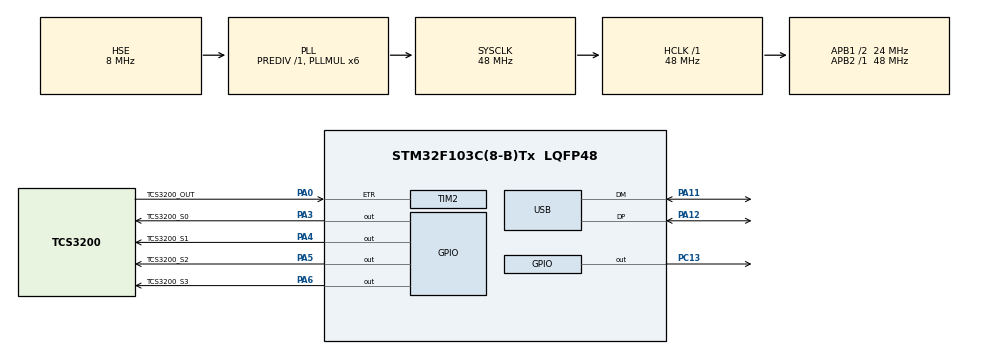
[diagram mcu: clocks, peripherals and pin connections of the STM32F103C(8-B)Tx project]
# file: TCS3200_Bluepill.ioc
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Mcu.Family=STM32F1
Mcu.Name=STM32F103C(8-B)Tx
Mcu.Package=LQFP48
NVIC.PriorityGroup=NVIC_PRIORITYGROUP_4
NVIC.TIM1_BRK_IRQn=true\:0\:0\:false\:false\:true\:true\:true\:true
NVIC.TIM1_CC_IRQn=true\:0\:0\:false\:false\:true\:true\:true\:true
NVIC.TIM1_TRG_COM_IRQn=true\:0\:0\:false\:false\:true\:true\:true\:true
NVIC.TIM1_UP_IRQn=true\:0\:0\:false\:false\:true\:true\:true\:true
NVIC.TIM2_IRQn=true\:0\:0\:false\:false\:true\:true\:true\:true
NVIC.USB_LP_CAN1_RX0_IRQn=true\:0\:0\:false\:false\:true\:false\:true\:true
PA0-WKUP.GPIO_Label=TCS3200_OUT
PA0-WKUP.Signal=S_TIM2_CH1_ETR
PA11.Mode=Device
PA11.Signal=USB_DM
PA12.Mode=Device
PA12.Signal=USB_DP
PA13.Mode=Serial_Wire
PA13.Signal=SYS_JTMS-SWDIO
PA14.Mode=Serial_Wire
PA14.Signal=SYS_JTCK-SWCLK
PA3.GPIO_Label=TCS3200_S0
PA3.Signal=GPIO_Output
PA4.GPIO_Label=TCS3200_S1
PA4.Signal=GPIO_Output
PA5.GPIO_Label=TCS3200_S2
PA5.Signal=GPIO_Output
PA6.GPIO_Label=TCS3200_S3
PA6.Signal=GPIO_Output
PC13-TAMPER-RTC.Signal=GPIO_Output
PD0-OSC_IN.Mode=HSE-External-Oscillator
PD0-OSC_IN.Signal=RCC_OSC_IN
PD1-OSC_OUT.Mode=HSE-External-Oscillator
PD1-OSC_OUT.Signal=RCC_OSC_OUT
ProjectManager.HeapSize=0x200
ProjectManager.StackSize=0x400
ProjectManager.TargetToolchain=Makefile
RCC.AHBFreq_Value=48000000
RCC.APB1CLKDivider=RCC_HCLK_DIV2
RCC.APB1Freq_Value=24000000
RCC.APB1TimFreq_Value=48000000
RCC.APB2Freq_Value=48000000
RCC.APB2TimFreq_Value=48000000
RCC.HCLKFreq_Value=48000000
RCC.PLLMUL=RCC_PLL_MUL6
RCC.PLLSourceVirtual=RCC_PLLSOURCE_HSE
RCC.SYSCLKFreq_VALUE=48000000
RCC.SYSCLKSource=RCC_SYSCLKSOURCE_PLLCLK
RCC.USBFreq_Value=48000000
SH.S_TIM2_CH1_ETR.0=TIM2_ETR,ClockSourceETR_Mode2
TIM1.Prescaler=71
TIM2.Period=100
USB_DEVICE.CLASS_NAME_FS=CDC
USB_DEVICE.VirtualMode=Cdc
USB_DEVICE.VirtualModeFS=Cdc_FS
VP_TIM1_VS_ClockSourceINT.Mode=Internal
VP_USB_DEVICE_VS_USB_DEVICE_CDC_FS.Mode=CDC_FS
board=custom

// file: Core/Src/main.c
/* USER CODE BEGIN Header */
/**
 ******************************************************************************
 * @file           : main.c
 * @brief          : Main program body
 ******************************************************************************
 * @attention
 *
 * Copyright (c) 2024 STMicroelectronics.
 * All rights reserved.
 *
 * This software is licensed under terms that can be found in the LICENSE file
 * in the root directory of this software component.
 * If no LICENSE file comes with this software, it is provided AS-IS.
 *
 ******************************************************************************
 */
/* USER CODE END Header */
#include "main.h"
#include "tim.h"
#include "usb_device.h"
#include "gpio.h"

/* USER CODE BEGIN Includes */
#include <stdio.h>
#include "usbd_cdc_if.h"
#include "TCS3200.h"
#include "crc8.h"
/* USER CODE END Includes */

void SystemClock_Config(void);

/* USER CODE BEGIN 0 */
uint8_t CRC_TABLE[CRC8_TABLE_SIZE];
/* USER CODE END 0 */

int main(void)
{

  /* MCU Configuration--------------------------------------------------------*/

  /* Reset of all peripherals, Initializes the Flash interface and the Systick. */
  HAL_Init();

  /* Configure the system clock */
  SystemClock_Config();

  /* Initialize all configured peripherals */
  MX_GPIO_Init();
  MX_TIM2_Init();
  MX_TIM1_Init();
  MX_USB_DEVICE_Init();
  /* USER CODE BEGIN 2 */
  init_CRC_Table(CRC_TABLE, 7);
  HAL_TIM_Base_Start_IT(&htim1);
  HAL_TIM_Base_Start_IT(&htim2);
  TCS3200_Init();
  HAL_GPIO_WritePin(GPIOC, GPIO_PIN_13, GPIO_PIN_SET);
  uint32_t last_transmit = 0;
  char c;
  uint8_t packet[3] = {0xA5, 0, 0};
  BallColor ballColor;
  int isBallDetected;
  /* USER CODE END 2 */

  /* Infinite loop */
  /* USER CODE BEGIN WHILE */
  while (1)
  {
    isBallDetected = 1;
    ballColor = GetBallColor();

    if (HAL_GetTick() - last_transmit >= 10)
    {
      if (ballColor == BALL_RED)
      {
        c = 'R';
        // printf("RED\n");
      }
      else if (ballColor == BALL_BLUE)
      {
        c = 'B';
        // printf("BLUE\n");
      }
      else if (ballColor == BALL_PURPLE)
      {
        c = 'P';
        // printf("PURPLE\n");
      }
      else
      {
        c = 'N';
        isBallDetected = 0;
      }

      if (isBallDetected)
      {
        HAL_GPIO_WritePin(GPIOC, GPIO_PIN_13, GPIO_PIN_RESET);
      }
      else
      {
        HAL_GPIO_WritePin(GPIOC, GPIO_PIN_13, GPIO_PIN_SET);
      }

      packet[1] = (uint8_t)c;
      packet[2] = get_CRC_Hash(packet+1, 1, CRC_TABLE);
      CDC_Transmit_FS(packet, 3);
      last_transmit = HAL_GetTick();
    }

    // printf("%ld %ld %c\n", colorFreq.Red, colorFreq.Blue, c);
    /* USER CODE END WHILE */

  }
}

void SystemClock_Config(void)
{
  RCC_OscInitTypeDef RCC_OscInitStruct = {0};
  RCC_ClkInitTypeDef RCC_ClkInitStruct = {0};
  RCC_PeriphCLKInitTypeDef PeriphClkInit = {0};

  /** Initializes the RCC Oscillators according to the specified parameters
   * in the RCC_OscInitTypeDef structure.
   */
  RCC_OscInitStruct.OscillatorType = RCC_OSCILLATORTYPE_HSE;
  RCC_OscInitStruct.HSEState = RCC_HSE_ON;
  RCC_OscInitStruct.HSEPredivValue = RCC_HSE_PREDIV_DIV1;
  RCC_OscInitStruct.HSIState = RCC_HSI_ON;
  RCC_OscInitStruct.PLL.PLLState = RCC_PLL_ON;
  RCC_OscInitStruct.PLL.PLLSource = RCC_PLLSOURCE_HSE;
  RCC_OscInitStruct.PLL.PLLMUL = RCC_PLL_MUL6;
  if (HAL_RCC_OscConfig(&RCC_OscInitStruct) != HAL_OK)
  {
    Error_Handler();
  }

  /** Initializes the CPU, AHB and APB buses clocks
   */
  RCC_ClkInitStruct.ClockType = RCC_CLOCKTYPE_HCLK | RCC_CLOCKTYPE_SYSCLK | RCC_CLOCKTYPE_PCLK1 | RCC_CLOCKTYPE_PCLK2;
  RCC_ClkInitStruct.SYSCLKSource = RCC_SYSCLKSOURCE_PLLCLK;
  RCC_ClkInitStruct.AHBCLKDivider = RCC_SYSCLK_DIV1;
  RCC_ClkInitStruct.APB1CLKDivider = RCC_HCLK_DIV2;
  RCC_ClkInitStruct.APB2CLKDivider = RCC_HCLK_DIV1;

  if (HAL_RCC_ClockConfig(&RCC_ClkInitStruct, FLASH_LATENCY_1) != HAL_OK)
  {
    Error_Handler();
  }
  PeriphClkInit.PeriphClockSelection = RCC_PERIPHCLK_USB;
  PeriphClkInit.UsbClockSelection = RCC_USBCLKSOURCE_PLL;
  if (HAL_RCCEx_PeriphCLKConfig(&PeriphClkInit) != HAL_OK)
  {
    Error_Handler();
  }
}

/* USER CODE BEGIN 4 */
void HAL_GPIO_EXTI_Callback(uint16_t GPIO_Pin)
{
  switch (GPIO_Pin)
  {
  case GPIO_PIN_3:
    if (HAL_GPIO_ReadPin(GPIOA, GPIO_PIN_3) == GPIO_PIN_SET)
    {
    }
    else
    {
      HAL_GPIO_WritePin(GPIOC, GPIO_PIN_13, GPIO_PIN_RESET);
    }
    break;

  default:
    break;
  }
}

/* USER CODE END 4 */

void Error_Handler(void)
{
  __disable_irq();
  while (1)
  {
  }
}
